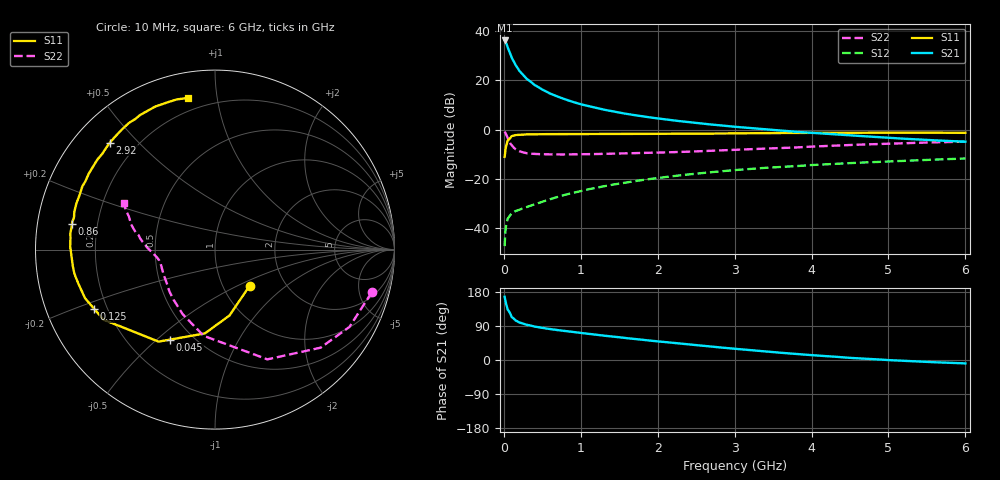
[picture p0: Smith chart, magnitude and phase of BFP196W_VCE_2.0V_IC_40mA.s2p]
! Infineon Technologies  Discrete & RF Semiconductors
! BFP196W
! VCE = 2.0 V,  IC =  40mA
! Common Emitter S-Parameters:  Jan 2016
# GHz  S  MA  R  50
!  f  S11  S21  S12  S22
! GHz  MAG  ANG  MAG  ANG  MAG  ANG  MAG  ANG
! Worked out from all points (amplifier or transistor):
!   210 points, 10 MHz to 6 GHz, reference 50 ohm
!   highest |S21| = 36.2 dB at 10 MHz (marker M1)
!   |S21| within 3 dB of that: start of sweep to 52.81 MHz
!   unconditionally stable (mu >= 1): 660.9 MHz to 3.327 GHz
!   at 185 MHz: K = 0.51, MSG = 28.7 dB, |S12| = -32.7 dB
!   at 1.52 GHz: K = 1.12, MAG = 12.2 dB, |S12| = -21.8 dB
!   at 6 GHz: K = 0.95, MSG = 3.4 dB, |S12| = -11.7 dB
!   S11 on the Smith chart (normalised r, x): 10 MHz: 1.33, -0.58; 45 MHz: 0.38, -0.55; 125 MHz: 0.15, -0.23; 860 MHz: 0.11, +0.09; 2.92 GHz: 0.11, +0.42; 6 GHz: 0.13, +0.83
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0.01  0.279 -46.3  64.25 166.9  0.0043 78.4  0.9051 -15.3
0.02  0.376 -77.6  61.74 157.2  0.0084 68.1  0.8641 -29.9
0.03  0.4705 -96.9  57.02 147.7  0.0114 63.7  0.8029 -42.9
0.045  0.5601 -116.5  48.83 137.2  0.0144 52.9  0.6986 -58.4
0.05  0.6013 -121.5  46.55 132.9  0.0155 50.3  0.6774 -64.5
0.1  0.7337 -147.8  29.18 113.9  0.0199 38.1  0.4848 -97.4
0.125  0.7494 -153.8  24.79 110.0  0.021 37.2  0.4372 -106.1
0.15  0.7729 -159.5  20.57 104.4  0.0221 36.4  0.402 -116.7
0.2  0.7844 -165.9  15.69 99.2  0.0235 38.2  0.3633 -129.1
0.24  0.792 -169.2  13.33 96.4  0.0249 39.9  0.3484 -135.6
0.3  0.7973 -173.0  10.6 92.8  0.0268 42.3  0.3298 -143.7
0.4  0.8007 -177.9  8.021 88.2  0.0304 46.3  0.3202 -151.5
0.5  0.8069 178.9  6.455 84.6  0.0342 49.9  0.316 -156.8
0.6  0.807 176.1  5.382 81.6  0.0385 53.1  0.3134 -160.5
0.86  0.8093 170.0  3.798 74.9  0.0502 57.3  0.3135 -165.8
1.02  0.8069 166.7  3.203 71.0  0.0572 58.7  0.3155 -168.0
2.02  0.8209 149.0  1.663 48.8  0.105 57.3  0.3408 -175.5
2.92  0.835 134.5  1.171 31.2  0.1466 50.7  0.3824 177.4
3.1  0.8396 131.7  1.107 27.9  0.1545 49.1  0.3928 175.8
4.1  0.8585 117.8  0.84 11.5  0.1939 40.7  0.4579 167.0
5.1  0.8623 107.3  0.666 -1.1  0.2283 32.5  0.5208 158.3
6  0.8581 100.2  0.567 -9.0  0.2589 26.1  0.5682 153.0
